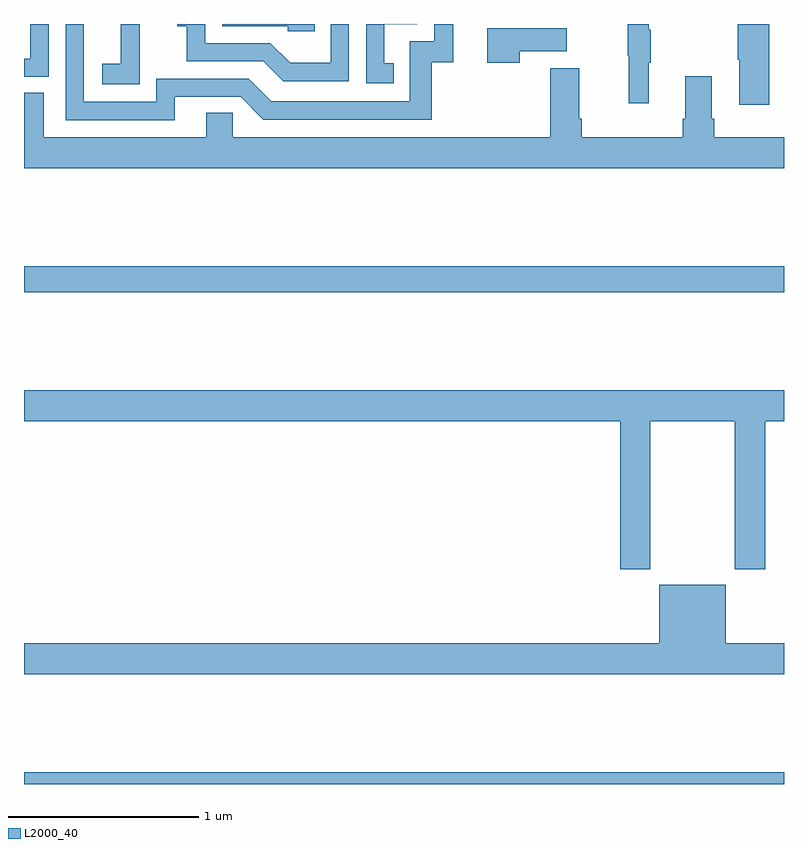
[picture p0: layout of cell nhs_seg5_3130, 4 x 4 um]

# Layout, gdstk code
import gdstk
lib = gdstk.Library(unit=1e-6, precision=1e-09)
def R(c, l, rs):  # rectangles x0, y0, x1, y1
    for r in rs: c.add(gdstk.rectangle(r[:2], r[2:], *l))
def P(c, l, *ps):  # polygons
    for p in ps: c.add(gdstk.Polygon(p, *l))
L2000_40 = (2000, 40)

nhs_seg5_3130 = lib.new_cell('nhs_seg5_3130')
R(nhs_seg5_3130, L2000_40, [(291,906.799,295,906.86), (291,909.388,295,909.524)])
P(nhs_seg5_3130, L2000_40, [(294.287,910.595),(294.298,910.595),(294.298,910.769),(294.287,910.769),(294.287,910.799),(294.177,910.799),(294.177,910.632),(294.184,910.632),(294.184,910.383),(294.287,910.383)],
  [(292.71,910.799),(292.614,910.799),(292.614,910.594),(292.4,910.594),(292.296,910.698),(291.954,910.698),(291.954,910.799),(291.807,910.799),(291.807,910.787),(291.856,910.787),(291.856,910.602),(292.259,910.602),(292.364,910.497),(292.71,910.497)],
  [(294.923,910.799),(294.757,910.799),(294.757,910.612),(294.764,910.612),(294.764,910.374),(294.923,910.374)],
  [(292.529,910.799),(292.044,910.799),(292.044,910.788),(292.389,910.788),(292.389,910.761),(292.529,910.761)],
  [(291.609,910.687),(291.608,910.687),(291.608,910.799),(291.509,910.799),(291.509,910.591),(291.411,910.591),(291.411,910.481),(291.609,910.481)],
  [(291.129,910.799),(291.033,910.799),(291.033,910.617),(291,910.617),(291,910.521),(291.129,910.521)],
  [(291.793,910.416),(292.14,910.416),(292.26,910.296),(293.147,910.296),(293.147,910.599),(293.258,910.599),(293.258,910.799),(293.16,910.799),(293.16,910.707),(293.031,910.707),(293.031,910.392),(292.302,910.392),(292.182,910.512),(291.696,910.512),(291.696,910.389),(291.315,910.389),(291.315,910.799),(291.219,910.799),(291.219,910.293),(291.793,910.293)],
  [(292.946,910.593),(292.897,910.593),(292.897,910.797),(293.07,910.797),(293.07,910.799),(292.8,910.799),(292.8,910.488),(292.946,910.488)],
  [(293.609,910.655),(293.857,910.655),(293.857,910.777),(293.438,910.777),(293.438,910.596),(293.609,910.596)],
  [(295,910.204),(294.632,910.204),(294.632,910.3),(294.619,910.3),(294.619,910.525),(294.479,910.525),(294.479,910.3),(294.467,910.3),(294.467,910.204),(293.936,910.204),(293.936,910.3),(293.923,910.3),(293.923,910.567),(293.771,910.567),(293.771,910.204),(292.098,910.204),(292.098,910.331),(291.959,910.331),(291.959,910.204),(291.103,910.204),(291.103,910.436),(291,910.436),(291,910.04),(295,910.04)],
  [(294.297,908.708),(294.742,908.708),(294.742,907.929),(294.902,907.929),(294.902,908.708),(295,908.708),(295,908.872),(291,908.872),(291,908.708),(294.137,908.708),(294.137,907.929),(294.297,907.929)],
  [(295,907.54),(294.694,907.54),(294.694,907.849),(294.344,907.849),(294.344,907.54),(291,907.54),(291,907.376),(295,907.376)])

lib.write_gds('nhs_seg5_3130.gds')
